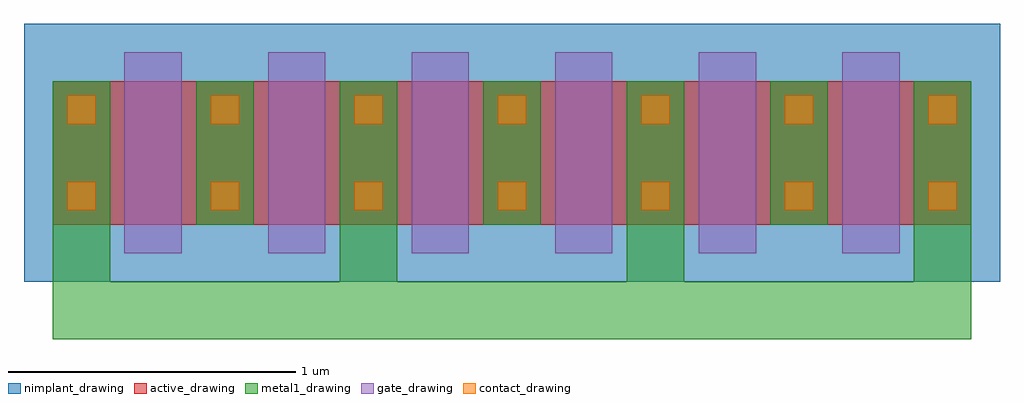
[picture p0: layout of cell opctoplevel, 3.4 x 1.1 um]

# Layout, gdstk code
import gdstk
lib = gdstk.Library(unit=1e-6, precision=1e-09)
def R(c, l, rs):  # rectangles x0, y0, x1, y1
    for r in rs: c.add(gdstk.rectangle(r[:2], r[2:], *l))
def A(c, l, x, y, w, h, nx, ny, dx, dy):  # array of equal rectangles
    R(c, l, [(x+i*dx, y+j*dy, x+i*dx+w, y+j*dy+h) for i in range(nx) for j in range(ny)])
active_drawing = (1, 0)
nimplant_drawing = (5, 0)
gate_drawing = (6, 0)
contact_drawing = (7, 0)
metal1_drawing = (8, 0)

opctoplevel = lib.new_cell('opctoplevel')
R(opctoplevel, active_drawing, [(-0.25,0,2.95,0.5)])
R(opctoplevel, nimplant_drawing, [(-0.35,-0.2,3.05,0.7)])
A(opctoplevel, gate_drawing, 0, -0.1, 0.2, 0.7, 6, 1, 0.5, 0)
A(opctoplevel, contact_drawing, -0.2, 0.05, 0.1, 0.1, 7, 2, 0.5, 0.3)
A(opctoplevel, metal1_drawing, -0.25, -0.2, 0.2, 0.2, 4, 1, 1, 0)
A(opctoplevel, metal1_drawing, -0.25, 0, 0.2, 0.5, 7, 1, 0.5, 0)
R(opctoplevel, metal1_drawing, [(-0.25,-0.4,2.95,-0.2)])

lib.write_gds('opctoplevel.gds')
